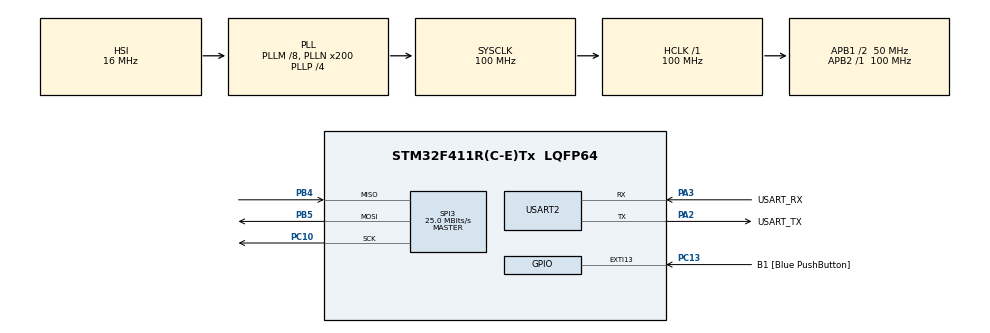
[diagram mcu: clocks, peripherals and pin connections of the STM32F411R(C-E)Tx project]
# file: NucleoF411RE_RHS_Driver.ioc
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Mcu.Family=STM32F4
Mcu.Name=STM32F411R(C-E)Tx
Mcu.Package=LQFP64
NVIC.PriorityGroup=NVIC_PRIORITYGROUP_0
PA13.GPIO_Label=TMS
PA13.Mode=Serial_Wire
PA13.Signal=SYS_JTMS-SWDIO
PA14.GPIO_Label=TCK
PA14.Mode=Serial_Wire
PA14.Signal=SYS_JTCK-SWCLK
PA2.GPIO_Label=USART_TX
PA2.Mode=Asynchronous
PA2.Signal=USART2_TX
PA3.GPIO_Label=USART_RX
PA3.Mode=Asynchronous
PA3.Signal=USART2_RX
PB3.GPIO_Label=SWO
PB3.Signal=SYS_JTDO-SWO
PB4.Mode=Full_Duplex_Master
PB4.Signal=SPI3_MISO
PB5.Mode=Full_Duplex_Master
PB5.Signal=SPI3_MOSI
PC10.Mode=Full_Duplex_Master
PC10.Signal=SPI3_SCK
PC13-ANTI_TAMP.GPIO_Label=B1 [Blue PushButton]
PC13-ANTI_TAMP.GPIO_ModeDefaultEXTI=GPIO_MODE_IT_FALLING
PC13-ANTI_TAMP.Signal=GPXTI13
PC14-OSC32_IN.Mode=LSE-External-Oscillator
PC14-OSC32_IN.Signal=RCC_OSC32_IN
PC15-OSC32_OUT.Mode=LSE-External-Oscillator
PC15-OSC32_OUT.Signal=RCC_OSC32_OUT
PH0\ -\ OSC_IN.Mode=HSE-External-Clock-Source
PH0\ -\ OSC_IN.Signal=RCC_OSC_IN
PH1\ -\ OSC_OUT.Mode=HSE-External-Clock-Source
PH1\ -\ OSC_OUT.Signal=RCC_OSC_OUT
ProjectManager.HeapSize=0x200
ProjectManager.StackSize=0x400
ProjectManager.TargetToolchain=STM32CubeIDE
RCC.48MHZClocksFreq_Value=100000000
RCC.AHBFreq_Value=100000000
RCC.APB1CLKDivider=RCC_HCLK_DIV2
RCC.APB1Freq_Value=50000000
RCC.APB1TimFreq_Value=100000000
RCC.APB2Freq_Value=100000000
RCC.APB2TimFreq_Value=100000000
RCC.CortexFreq_Value=100000000
RCC.FLatency-AdvancedSettings=FLASH_LATENCY_3
RCC.HCLKFreq_Value=100000000
RCC.HSE_VALUE=8000000
RCC.HSI_VALUE=16000000
RCC.PLLM=8
RCC.PLLN=200
RCC.PLLP=RCC_PLLP_DIV4
RCC.SYSCLKFreq_VALUE=100000000
RCC.SYSCLKSource=RCC_SYSCLKSOURCE_PLLCLK
RCC.VCOOutputFreq_Value=400000000
SPI3.CalculateBaudRate=25.0 MBits/s
SPI3.Direction=SPI_DIRECTION_2LINES
SPI3.Mode=SPI_MODE_MASTER
SPI3.VirtualType=VM_MASTER
USART2.VirtualMode=VM_ASYNC
board=NUCLEO-F411RE

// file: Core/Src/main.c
/* USER CODE BEGIN Header */
/**
  ******************************************************************************
  * @file           : main.c
  * @brief          : Main program body
  ******************************************************************************
  * @attention
  *
  * Copyright (c) 2026 STMicroelectronics.
  * All rights reserved.
  *
  * This software is licensed under terms that can be found in the LICENSE file
  * in the root directory of this software component.
  * If no LICENSE file comes with this software, it is provided AS-IS.
  *
  ******************************************************************************
  */
/* USER CODE END Header */
#include "main.h"

/* USER CODE BEGIN Includes */
#include "../Intan/Intan_utils.h"
#include "../Intan/RHS_Driver.h"
#include "../Intan/RHD_Driver.h"
/* USER CODE END Includes */

SPI_HandleTypeDef hspi3;

UART_HandleTypeDef huart2;

void SystemClock_Config(void);
static void MX_GPIO_Init(void);
static void MX_USART2_UART_Init(void);
static void MX_SPI3_Init(void);

/* USER CODE BEGIN 0 */
#ifdef __GNUC__
/* With GCC, small printf (option LD Linker->Libraries->Small printf
   set to 'Yes') calls __io_putchar() */
#define PUTCHAR_PROTOTYPE int __io_putchar(int ch)
#else
#define PUTCHAR_PROTOTYPE int fputc(int ch, FILE *f)
#endif /* __GNUC__ */
/* USER CODE END 0 */

int main(void)
{

  /* MCU Configuration--------------------------------------------------------*/

  /* Reset of all peripherals, Initializes the Flash interface and the Systick. */
  HAL_Init();

  /* Configure the system clock */
  SystemClock_Config();

  /* Initialize all configured peripherals */
  MX_GPIO_Init();
  MX_USART2_UART_Init();
  MX_SPI3_Init();

  /* USER CODE BEGIN 2 */

  //SET CS_PIN

  SPI_HandleTypeDef *hspi;
  printf("Init RHS \r\n");
  hspi = &hspi3;
  SET_BIT(hspi->Instance->CR1, SPI_CR1_SPE);
  hspi->Instance->CR1 |= SPI_CR1_DFF;
  INIT_RHS(hspi);
	INIT_RHS(hspi);
	for (int i = 0; i<1000; i++){
		INIT_RHS(hspi);
		HAL_Delay(500);
	}

  /* USER CODE END 2 */

  /* Infinite loop */
  while (1)
  {

  }
}

void SystemClock_Config(void)
{
  RCC_OscInitTypeDef RCC_OscInitStruct = {0};
  RCC_ClkInitTypeDef RCC_ClkInitStruct = {0};

  /** Configure the main internal regulator output voltage
  */
  __HAL_RCC_PWR_CLK_ENABLE();
  __HAL_PWR_VOLTAGESCALING_CONFIG(PWR_REGULATOR_VOLTAGE_SCALE1);

  /** Initializes the RCC Oscillators according to the specified parameters
  * in the RCC_OscInitTypeDef structure.
  */
  RCC_OscInitStruct.OscillatorType = RCC_OSCILLATORTYPE_HSI;
  RCC_OscInitStruct.HSIState = RCC_HSI_ON;
  RCC_OscInitStruct.HSICalibrationValue = RCC_HSICALIBRATION_DEFAULT;
  RCC_OscInitStruct.PLL.PLLState = RCC_PLL_ON;
  RCC_OscInitStruct.PLL.PLLSource = RCC_PLLSOURCE_HSI;
  RCC_OscInitStruct.PLL.PLLM = 8;
  RCC_OscInitStruct.PLL.PLLN = 200;
  RCC_OscInitStruct.PLL.PLLP = RCC_PLLP_DIV4;
  RCC_OscInitStruct.PLL.PLLQ = 4;
  if (HAL_RCC_OscConfig(&RCC_OscInitStruct) != HAL_OK)
  {
    Error_Handler();
  }

  /** Initializes the CPU, AHB and APB buses clocks
  */
  RCC_ClkInitStruct.ClockType = RCC_CLOCKTYPE_HCLK|RCC_CLOCKTYPE_SYSCLK
                              |RCC_CLOCKTYPE_PCLK1|RCC_CLOCKTYPE_PCLK2;
  RCC_ClkInitStruct.SYSCLKSource = RCC_SYSCLKSOURCE_PLLCLK;
  RCC_ClkInitStruct.AHBCLKDivider = RCC_SYSCLK_DIV1;
  RCC_ClkInitStruct.APB1CLKDivider = RCC_HCLK_DIV2;
  RCC_ClkInitStruct.APB2CLKDivider = RCC_HCLK_DIV1;

  if (HAL_RCC_ClockConfig(&RCC_ClkInitStruct, FLASH_LATENCY_3) != HAL_OK)
  {
    Error_Handler();
  }
}

static void MX_SPI3_Init(void)
{

  /* SPI3 parameter configuration*/
  hspi3.Instance = SPI3;
  hspi3.Init.Mode = SPI_MODE_MASTER;
  hspi3.Init.Direction = SPI_DIRECTION_2LINES;
  hspi3.Init.DataSize = SPI_DATASIZE_16BIT;
  hspi3.Init.CLKPolarity = SPI_POLARITY_LOW;
  hspi3.Init.CLKPhase = SPI_PHASE_1EDGE;
  hspi3.Init.NSS = SPI_NSS_SOFT;
  hspi3.Init.BaudRatePrescaler = SPI_BAUDRATEPRESCALER_32;
  hspi3.Init.FirstBit = SPI_FIRSTBIT_MSB;
  hspi3.Init.TIMode = SPI_TIMODE_DISABLE;
  hspi3.Init.CRCCalculation = SPI_CRCCALCULATION_DISABLE;
  hspi3.Init.CRCPolynomial = 10;
  if (HAL_SPI_Init(&hspi3) != HAL_OK)
  {
    Error_Handler();
  }

}

static void MX_USART2_UART_Init(void)
{

  huart2.Instance = USART2;
  huart2.Init.BaudRate = 115200;
  huart2.Init.WordLength = UART_WORDLENGTH_8B;
  huart2.Init.StopBits = UART_STOPBITS_1;
  huart2.Init.Parity = UART_PARITY_NONE;
  huart2.Init.Mode = UART_MODE_TX_RX;
  huart2.Init.HwFlowCtl = UART_HWCONTROL_NONE;
  huart2.Init.OverSampling = UART_OVERSAMPLING_16;
  if (HAL_UART_Init(&huart2) != HAL_OK)
  {
    Error_Handler();
  }

}

static void MX_GPIO_Init(void)
{
  GPIO_InitTypeDef GPIO_InitStruct = {0};

  /* GPIO Ports Clock Enable */
  __HAL_RCC_GPIOC_CLK_ENABLE();
  __HAL_RCC_GPIOH_CLK_ENABLE();
  __HAL_RCC_GPIOA_CLK_ENABLE();
  __HAL_RCC_GPIOB_CLK_ENABLE();
  __HAL_RCC_GPIOD_CLK_ENABLE();

  /*Configure GPIO pin : B1_Pin */
  GPIO_InitStruct.Pin = B1_Pin;
  GPIO_InitStruct.Mode = GPIO_MODE_IT_FALLING;
  GPIO_InitStruct.Pull = GPIO_NOPULL;
  HAL_GPIO_Init(B1_GPIO_Port, &GPIO_InitStruct);

/* USER CODE BEGIN MX_GPIO_Init_2 */
  GPIO_InitStruct.Pin   = RHS_SPI_CS_Pin;
  GPIO_InitStruct.Mode  = GPIO_MODE_OUTPUT_PP;
  GPIO_InitStruct.Pull  = GPIO_NOPULL;
  GPIO_InitStruct.Speed = GPIO_SPEED_FREQ_VERY_HIGH;
  HAL_GPIO_Init(RHS_SPI_CS_Port, &GPIO_InitStruct);
/* USER CODE END MX_GPIO_Init_2 */
}

/* USER CODE BEGIN 4 */
/**
  * @brief  Retargets the C library printf function to the USART.
  * @param  None
  * @retval None
  */
PUTCHAR_PROTOTYPE
{
  /* Place your implementation of fputc here */
  /* e.g. write a character to the USART2 and Loop until the end of transmission */
  HAL_UART_Transmit(&huart2, (uint8_t *)&ch, 1, 0xFFFF);

  return ch;
}
/* USER CODE END 4 */

void Error_Handler(void)
{
  __disable_irq();
  while (1)
  {
  }
}
